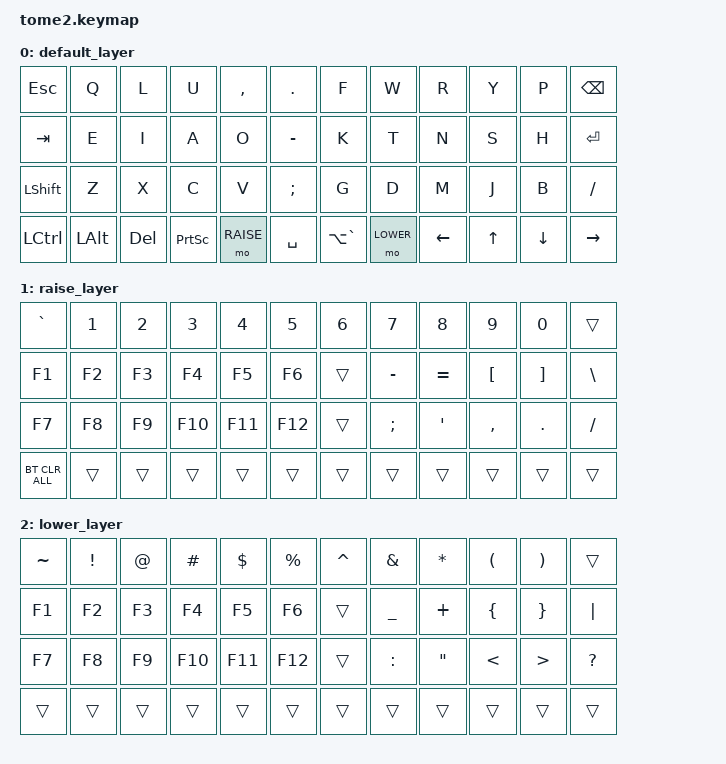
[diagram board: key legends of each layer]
#include <behaviors.dtsi>
#include <dt-bindings/zmk/keys.h>
#include <dt-bindings/zmk/bt.h>
#define DEFAULT 0
#define RAISE 1
#define LOWER 2

/ {
    keymap {
        compatible = "zmk,keymap";

        default_layer {
            bindings = <
            &kp ESC   &kp Q    &kp L   &kp U     &kp COMMA &kp DOT   &kp F         &kp W     &kp R    &kp Y  &kp P    &kp BSPC
            &kp TAB   &kp E    &kp I   &kp A     &kp O     &kp MINUS &kp K         &kp T     &kp N    &kp S  &kp H    &kp ENTER
            &kp LSHFT &kp Z    &kp X   &kp C     &kp V     &kp SEMI  &kp G         &kp D     &kp M    &kp J  &kp B    &kp SLASH
            &kp LCTRL &kp LALT &kp DEL &kp PSCRN &mo RAISE &kp SPACE &kp LA(GRAVE) &mo LOWER &kp LEFT &kp UP &kp DOWN &kp RIGHT
            >;
        };

        raise_layer {
            bindings = <
            &kp GRAVE      &kp N1  &kp N2  &kp N3  &kp N4   &kp N5  &kp N6  &kp N7    &kp N8    &kp N9    &kp N0   &trans
            &kp F1         &kp F2  &kp F3  &kp F4  &kp F5   &kp F6  &trans  &kp MINUS &kp EQUAL &kp LBKT  &kp RBKT &kp BSLH
            &kp F7         &kp F8  &kp F9  &kp F10 &kp F11  &kp F12 &trans  &kp SEMI  &kp APOS  &kp COMMA &kp DOT  &kp SLASH
            &bt BT_CLR_ALL &trans  &trans  &trans  &trans   &trans  &trans  &trans    &trans    &trans    &trans   &trans
            >;
        };
            
        lower_layer {
            bindings = <
            &kp TILDE &kp EXCL &kp AT  &kp HASH &kp DLLR &kp PRCNT &kp CARET &kp AMPS  &kp ASTRK &kp LPAR &kp RPAR &trans
            &kp F1    &kp F2   &kp F3  &kp F4   &kp F5   &kp F6    &trans    &kp UNDER &kp PLUS  &kp LBRC &kp RBRC &kp PIPE
            &kp F7    &kp F8   &kp F9  &kp F10  &kp F11  &kp F12   &trans    &kp COLON &kp DQT   &kp LT   &kp GT   &kp QMARK
            &trans    &trans   &trans  &trans   &trans   &trans    &trans    &trans    &trans    &trans   &trans   &trans
            >;
        };
    };
};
